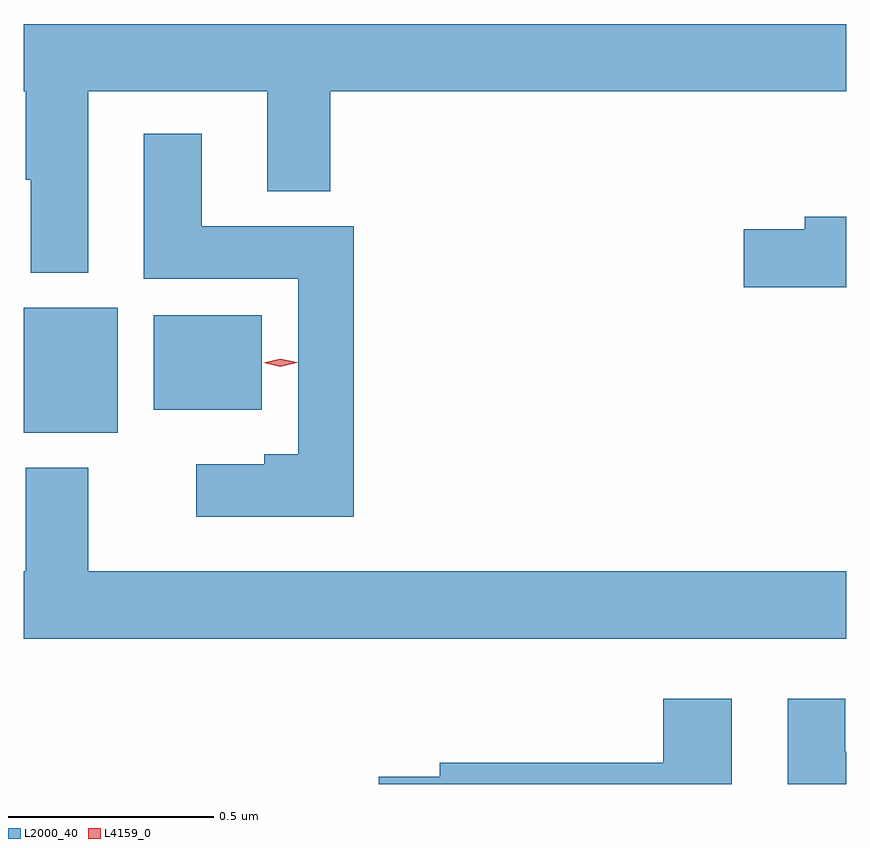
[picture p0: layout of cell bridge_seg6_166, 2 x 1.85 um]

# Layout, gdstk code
import gdstk
lib = gdstk.Library(unit=1e-6, precision=1e-09)
def R(c, l, rs):  # rectangles x0, y0, x1, y1
    for r in rs: c.add(gdstk.rectangle(r[:2], r[2:], *l))
def P(c, l, *ps):  # polygons
    for p in ps: c.add(gdstk.Polygon(p, *l))
L2000_40 = (2000, 40)
L4159_0 = (4159, 0)

bridge_seg6_166 = lib.new_cell('bridge_seg6_166')
R(bridge_seg6_166, L2000_40, [(603.367,955.829,603.595,956.134), (603.683,955.886,603.946,956.116)])
P(bridge_seg6_166, L2000_40, [(603.523,956.66),(603.959,956.66),(603.959,956.417),(604.112,956.417),(604.112,956.66),(605.367,956.66),(605.367,956.824),(603.367,956.824),(603.367,956.66),(603.371,956.66),(603.371,956.445),(603.383,956.445),(603.383,956.219),(603.523,956.219)],
  [(604.169,956.332),(603.799,956.332),(603.799,956.557),(603.659,956.557),(603.659,956.204),(604.034,956.204),(604.034,955.777),(603.951,955.777),(603.951,955.753),(603.786,955.753),(603.786,955.625),(604.169,955.625)],
  [(605.367,956.355),(605.267,956.355),(605.267,956.325),(605.118,956.325),(605.118,956.183),(605.367,956.183)],
  [(605.367,955.492),(603.523,955.492),(603.523,955.744),(603.371,955.744),(603.371,955.492),(603.367,955.492),(603.367,955.328),(605.367,955.328)],
  [(605.367,955.053),(605.365,955.053),(605.365,955.183),(605.225,955.183),(605.225,954.975),(605.367,954.975)],
  [(605.089,955.183),(604.922,955.183),(604.922,955.027),(604.379,955.027),(604.379,954.993),(604.23,954.993),(604.23,954.975),(605.089,954.975)])
P(bridge_seg6_166, L4159_0, [(603.991,955.99),(603.95,956),(603.95,956),(603.95,956),(603.991,956.01),(604.031,956.001),(604.032,956.001),(604.031,956)])

lib.write_gds('bridge_seg6_166.gds')
